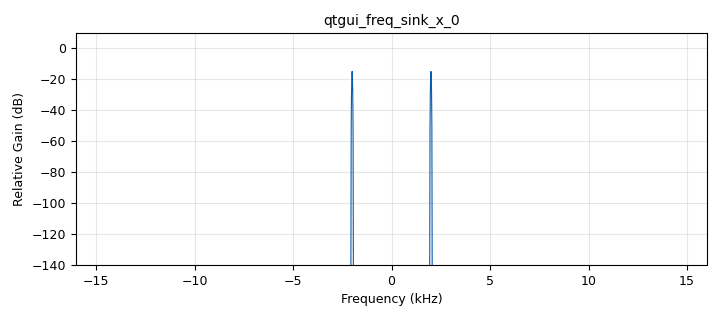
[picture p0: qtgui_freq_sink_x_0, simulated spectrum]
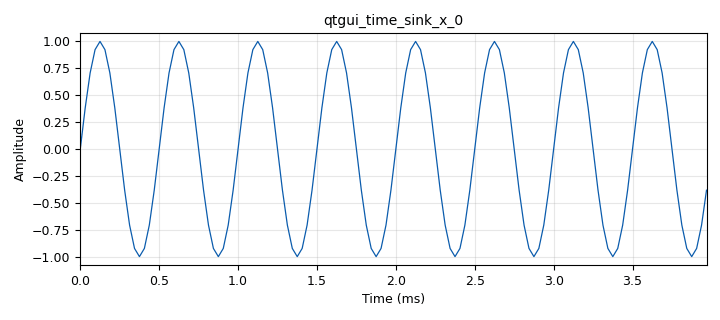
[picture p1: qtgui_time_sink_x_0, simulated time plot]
options:
  parameters:
    author: CESAR VEGA
    copyright: UIS
    generate_options: qt_gui
    id: PRACTICA1GRUPO5
    output_language: python
    title: practica numero L1A GRUPO 5
  states: {}

blocks:
- name: freq
  id: variable_qtgui_range
  parameters:
    label: frequency
    orient: Qt.Horizontal
    start: '1000'
    step: '1000'
    stop: '40000'
    value: '2000'
  states: {}
- name: samp_rate
  id: variable
  parameters:
    value: '32000'
  states: {}
- name: analog_sig_source_x_1
  id: analog_sig_source_x
  parameters:
    amp: '1'
    freq: '2000'
    offset: '0'
    phase: '0'
    samp_rate: samp_rate
    type: float
    waveform: analog.GR_SIN_WAVE
  states: {}
- name: blocks_and_xx_0
  id: blocks_and_xx
  parameters:
    type: int
  states: {}
- name: blocks_throttle_0
  id: blocks_throttle
  parameters:
    samples_per_second: samp_rate
    type: float
  states: {}
- name: qtgui_freq_sink_x_0
  id: qtgui_freq_sink_x
  parameters:
    bw: samp_rate
    fc: '0'
    fftsize: '2048'
    type: float
    wintype: firdes.WIN_BLACKMAN_hARRIS
  states: {}
- name: qtgui_time_sink_x_0
  id: qtgui_time_sink_x
  parameters:
    size: '128'
    srate: samp_rate
    type: float
  states: {}

connections:
- [analog_sig_source_x_1, '0', blocks_throttle_0, '0']
- [blocks_throttle_0, '0', qtgui_freq_sink_x_0, '0']
- [blocks_throttle_0, '0', qtgui_time_sink_x_0, '0']

metadata:
  file_format: 1
